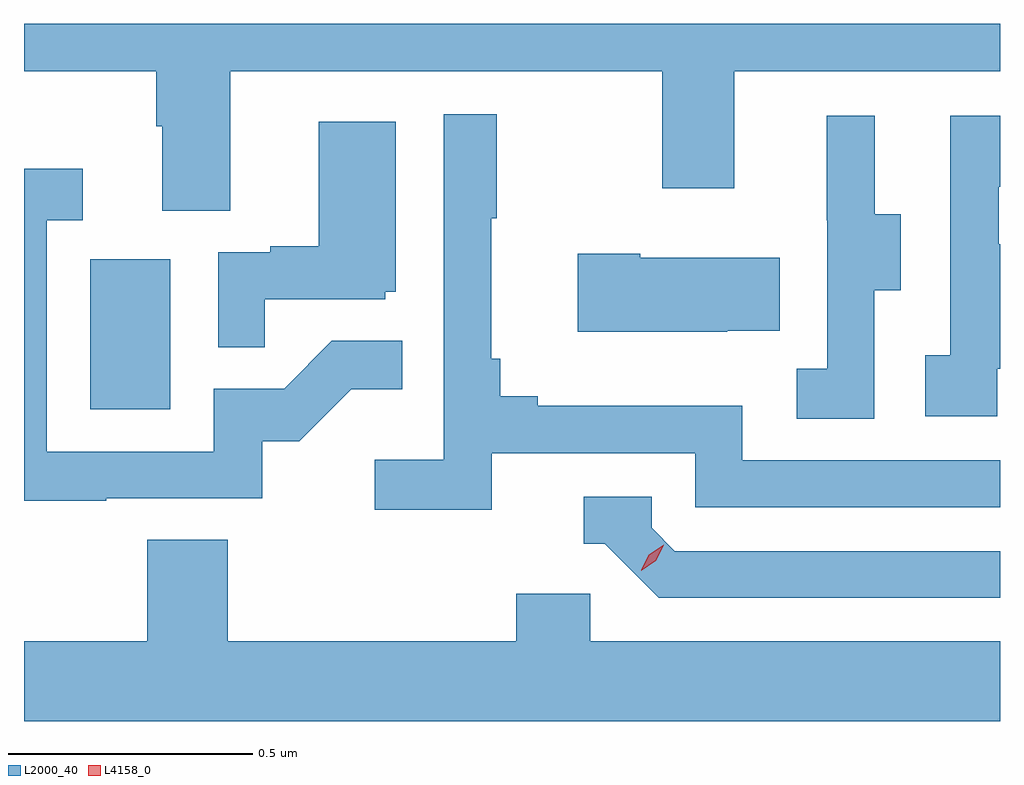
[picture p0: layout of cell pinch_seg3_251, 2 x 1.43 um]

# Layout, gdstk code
import gdstk
lib = gdstk.Library(unit=1e-6, precision=1e-09)
def R(c, l, rs):  # rectangles x0, y0, x1, y1
    for r in rs: c.add(gdstk.rectangle(r[:2], r[2:], *l))
def P(c, l, *ps):  # polygons
    for p in ps: c.add(gdstk.Polygon(p, *l))
L2000_40 = (2000, 40)
L4158_0 = (4158, 0)

pinch_seg3_251 = lib.new_cell('pinch_seg3_251')
R(pinch_seg3_251, L2000_40, [(900.806,733.524,900.97,733.831)])
P(pinch_seg3_251, L2000_40, [(901.093,734.216),(901.978,734.216),(901.978,733.977),(902.125,733.977),(902.125,734.216),(902.67,734.216),(902.67,734.314),(900.67,734.314),(900.67,734.216),(900.941,734.216),(900.941,734.104),(900.953,734.104),(900.953,733.93),(901.093,733.93)],
  [(901.628,733.434),(902.046,733.434),(902.046,733.323),(902.67,733.323),(902.67,733.419),(902.142,733.419),(902.142,733.531),(901.723,733.531),(901.723,733.55),(901.646,733.55),(901.646,733.627),(901.627,733.627),(901.627,733.915),(901.639,733.915),(901.639,734.128),(901.53,734.128),(901.53,733.42),(901.389,733.42),(901.389,733.318),(901.628,733.318)],
  [(902.412,733.768),(902.467,733.768),(902.467,733.923),(902.413,733.923),(902.413,734.125),(902.315,734.125),(902.315,733.911),(902.316,733.911),(902.316,733.607),(902.253,733.607),(902.253,733.504),(902.412,733.504)],
  [(902.664,733.607),(902.67,733.607),(902.67,733.862),(902.667,733.862),(902.667,733.98),(902.67,733.98),(902.67,734.125),(902.568,734.125),(902.568,733.634),(902.517,733.634),(902.517,733.509),(902.664,733.509)],
  [(901.163,733.749),(901.41,733.749),(901.41,733.764),(901.432,733.764),(901.432,734.113),(901.274,734.113),(901.274,733.858),(901.175,733.858),(901.175,733.845),(901.068,733.845),(901.068,733.651),(901.163,733.651)],
  [(900.839,733.341),(901.158,733.341),(901.158,733.458),(901.234,733.458),(901.341,733.565),(901.445,733.565),(901.445,733.664),(901.301,733.664),(901.203,733.566),(901.059,733.566),(901.059,733.437),(900.717,733.437),(900.717,733.911),(900.79,733.911),(900.79,734.017),(900.67,734.017),(900.67,733.336),(900.839,733.336)],
  [(902.111,733.685),(902.219,733.685),(902.219,733.834),(901.933,733.834),(901.933,733.842),(901.805,733.842),(901.805,733.682),(902.111,733.682)],
  [(902.67,733.233),(902.004,733.233),(901.956,733.281),(901.956,733.344),(901.817,733.344),(901.817,733.248),(901.86,733.248),(901.971,733.137),(902.67,733.137)],
  [(902.67,733.048),(901.83,733.048),(901.83,733.146),(901.679,733.146),(901.679,733.048),(901.088,733.048),(901.088,733.256),(900.923,733.256),(900.923,733.048),(900.67,733.048),(900.67,732.884),(902.67,732.884)])
P(pinch_seg3_251, L4158_0, [(901.935,733.193),(901.935,733.194),(901.95,733.226),(901.981,733.246),(901.981,733.246),(901.981,733.245),(901.965,733.213),(901.935,733.193)])

lib.write_gds('pinch_seg3_251.gds')
